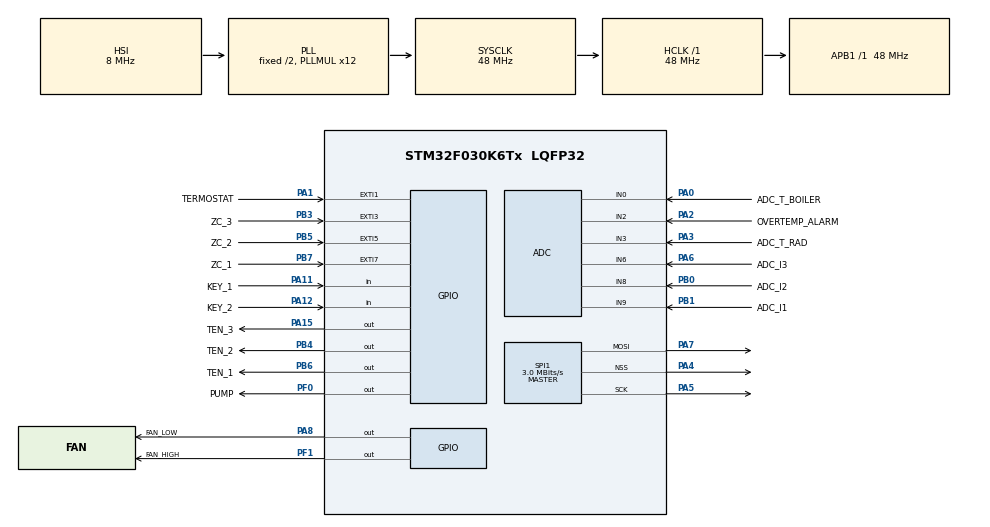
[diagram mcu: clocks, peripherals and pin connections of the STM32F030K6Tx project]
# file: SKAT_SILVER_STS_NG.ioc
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ADC.ContinuousConvMode=DISABLE
ADC.DMAContinuousRequests=ENABLE
ADC.ExternalTrigConv=ADC_SOFTWARE_START
ADC.SamplingTime=ADC_SAMPLETIME_55CYCLES_5
Dma.ADC.0.Direction=DMA_PERIPH_TO_MEMORY
Dma.ADC.0.Instance=DMA1_Channel1
Dma.ADC.0.MemDataAlignment=DMA_MDATAALIGN_HALFWORD
Dma.ADC.0.MemInc=DMA_MINC_ENABLE
Dma.ADC.0.Mode=DMA_CIRCULAR
Dma.ADC.0.PeriphDataAlignment=DMA_PDATAALIGN_HALFWORD
Dma.ADC.0.PeriphInc=DMA_PINC_DISABLE
Dma.ADC.0.Priority=DMA_PRIORITY_LOW
Dma.Request0=ADC
IWDG.Prescaler=IWDG_PRESCALER_64
IWDG.Reload=1250
IWDG.Window=1250
Mcu.Family=STM32F0
Mcu.Name=STM32F030K6Tx
Mcu.Package=LQFP32
NVIC.DMA1_Channel1_IRQn=true\:0\:0\:false\:false\:true\:false\:true\:true
NVIC.EXTI0_1_IRQn=true\:1\:0\:true\:false\:true\:true\:true\:true
PA0.GPIO_Label=ADC_T_BOILER
PA0.Mode=IN0
PA0.Signal=ADC_IN0
PA1.GPIO_Label=TERMOSTAT
PA1.GPIO_ModeDefaultEXTI=GPIO_MODE_IT_RISING_FALLING
PA1.GPIO_PuPd=GPIO_PULLDOWN
PA1.Signal=GPXTI1
PA11.GPIO_Label=KEY_1
PA11.Signal=GPIO_Input
PA12.GPIO_Label=KEY_2
PA12.Signal=GPIO_Input
PA13.Mode=Serial_Wire
PA13.Signal=SYS_SWDIO
PA14.Mode=Serial_Wire
PA14.Signal=SYS_SWCLK
PA15.GPIO_Label=TEN_3
PA15.Signal=GPIO_Output
PA2.GPIO_Label=OVERTEMP_ALARM
PA2.Signal=SharedAnalog_PA2
PA3.GPIO_Label=ADC_T_RAD
PA3.Mode=IN3
PA3.Signal=ADC_IN3
PA4.Mode=NSS_Signal_Hard_Output
PA4.Signal=SPI1_NSS
PA5.Mode=TX_Only_Simplex_Unidirect_Master
PA5.Signal=SPI1_SCK
PA6.GPIO_Label=ADC_I3
PA6.Mode=IN6
PA6.Signal=ADC_IN6
PA7.Mode=TX_Only_Simplex_Unidirect_Master
PA7.Signal=SPI1_MOSI
PA8.GPIO_Label=FAN_LOW
PA8.Signal=GPIO_Output
PB0.GPIO_Label=ADC_I2
PB0.Mode=IN8
PB0.Signal=ADC_IN8
PB1.GPIO_Label=ADC_I1
PB1.Mode=IN9
PB1.Signal=ADC_IN9
PB3.GPIO_Label=ZC_3
PB3.GPIO_ModeDefaultEXTI=GPIO_MODE_IT_RISING_FALLING
PB3.GPIO_PuPd=GPIO_PULLUP
PB3.Signal=GPXTI3
PB4.GPIO_Label=TEN_2
PB4.Signal=GPIO_Output
PB5.GPIO_Label=ZC_2
PB5.GPIO_ModeDefaultEXTI=GPIO_MODE_IT_RISING_FALLING
PB5.GPIO_PuPd=GPIO_PULLUP
PB5.Signal=GPXTI5
PB6.GPIO_Label=TEN_1
PB6.Signal=GPIO_Output
PB7.GPIO_Label=ZC_1
PB7.GPIO_ModeDefaultEXTI=GPIO_MODE_IT_RISING_FALLING
PB7.GPIO_PuPd=GPIO_PULLUP
PB7.Signal=GPXTI7
PF0-OSC_IN.GPIO_Label=PUMP
PF0-OSC_IN.Signal=GPIO_Output
PF1-OSC_OUT.GPIO_Label=FAN_HIGH
PF1-OSC_OUT.Signal=GPIO_Output
ProjectManager.HeapSize=0x200
ProjectManager.StackSize=0x400
ProjectManager.TargetToolchain=STM32CubeIDE
RCC.AHBFreq_Value=48000000
RCC.APB1Freq_Value=48000000
RCC.APB1TimFreq_Value=48000000
RCC.HCLKFreq_Value=48000000
RCC.PLLMUL=RCC_PLL_MUL12
RCC.SYSCLKFreq_VALUE=48000000
RCC.SYSCLKSource=RCC_SYSCLKSOURCE_PLLCLK
SH.SharedAnalog_PA2.0=GPIO_Analog
SH.SharedAnalog_PA2.1=ADC_IN2,IN2
SPI1.BaudRatePrescaler=SPI_BAUDRATEPRESCALER_16
SPI1.CLKPolarity=SPI_POLARITY_LOW
SPI1.CalculateBaudRate=3.0 MBits/s
SPI1.DataSize=SPI_DATASIZE_16BIT
SPI1.Direction=SPI_DIRECTION_2LINES
SPI1.FirstBit=SPI_FIRSTBIT_LSB
SPI1.Mode=SPI_MODE_MASTER
SPI1.VirtualNSS=VM_NSSHARD
SPI1.VirtualType=VM_MASTER
VP_ADC_Vref_Input.Mode=IN-Vrefint
VP_IWDG_VS_IWDG.Mode=IWDG_Activate
board=custom

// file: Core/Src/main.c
/* USER CODE BEGIN Header */
/**
  ******************************************************************************
  * @file           : main.c
  * @brief          : Main program body
  ******************************************************************************
  * @attention
  *
  * <h2><center>&copy; Copyright (c) 2022 STMicroelectronics.
  * All rights reserved.</center></h2>
  *
  * This software component is licensed by ST under BSD 3-Clause license,
  * the "License"; You may not use this file except in compliance with the
  * License. You may obtain a copy of the License at:
  *                        opensource.org/licenses/BSD-3-Clause
  *
  ******************************************************************************
  */
/* USER CODE END Header */
#include "main.h"
#include "adc.h"
#include "dma.h"
#include "iwdg.h"
#include "spi.h"
#include "gpio.h"

/* USER CODE BEGIN PV */
struct sBoiler boiler = {0};
uint32_t tickstart_1sec, tickstart_adc;
uint16_t delay_counter_1ms;
uint16_t delay_counter_500ms;
uint8_t ten1_output, ten2_output, ten3_output;

struct sSensor* list_of_sensors[2] = {&(boiler.heater.output.sensor), &(boiler.heatsink.sensor)};
uint8_t sensors_list_size = sizeof(list_of_sensors) / sizeof(list_of_sensors[0]);

/* USER CODE END PV */

void SystemClock_Config(void);

int main(void)
{

  /* MCU Configuration--------------------------------------------------------*/

  /* Reset of all peripherals, Initializes the Flash interface and the Systick. */
  HAL_Init();

  /* Configure the system clock */
  SystemClock_Config();

  /* Initialize all configured peripherals */
  MX_GPIO_Init();
  MX_DMA_Init();
  MX_SPI1_Init();
  MX_ADC_Init();
  MX_IWDG_Init();
  /* USER CODE BEGIN 2 */
  boiler_init();
  /* USER CODE END 2 */

  /* Infinite loop */
  /* USER CODE BEGIN WHILE */
  while (1)
  {
	  adc_update();
	  key_state_update();
	  user_interface_update();
	  heating_update();
	  upn_update();
	  one_second_event_handler();
	  display_update();
  }
    /* USER CODE END WHILE */

}

void SystemClock_Config(void)
{
  RCC_OscInitTypeDef RCC_OscInitStruct = {0};
  RCC_ClkInitTypeDef RCC_ClkInitStruct = {0};

  /** Initializes the RCC Oscillators according to the specified parameters
  * in the RCC_OscInitTypeDef structure.
  */
  RCC_OscInitStruct.OscillatorType = RCC_OSCILLATORTYPE_HSI|RCC_OSCILLATORTYPE_HSI14
                              |RCC_OSCILLATORTYPE_LSI;
  RCC_OscInitStruct.HSIState = RCC_HSI_ON;
  RCC_OscInitStruct.HSI14State = RCC_HSI14_ON;
  RCC_OscInitStruct.HSICalibrationValue = RCC_HSICALIBRATION_DEFAULT;
  RCC_OscInitStruct.HSI14CalibrationValue = 16;
  RCC_OscInitStruct.LSIState = RCC_LSI_ON;
  RCC_OscInitStruct.PLL.PLLState = RCC_PLL_ON;
  RCC_OscInitStruct.PLL.PLLSource = RCC_PLLSOURCE_HSI;
  RCC_OscInitStruct.PLL.PLLMUL = RCC_PLL_MUL12;
  RCC_OscInitStruct.PLL.PREDIV = RCC_PREDIV_DIV1;
  if (HAL_RCC_OscConfig(&RCC_OscInitStruct) != HAL_OK)
  {
    Error_Handler();
  }

  /** Initializes the CPU, AHB and APB buses clocks
  */
  RCC_ClkInitStruct.ClockType = RCC_CLOCKTYPE_HCLK|RCC_CLOCKTYPE_SYSCLK
                              |RCC_CLOCKTYPE_PCLK1;
  RCC_ClkInitStruct.SYSCLKSource = RCC_SYSCLKSOURCE_PLLCLK;
  RCC_ClkInitStruct.AHBCLKDivider = RCC_SYSCLK_DIV1;
  RCC_ClkInitStruct.APB1CLKDivider = RCC_HCLK_DIV1;

  if (HAL_RCC_ClockConfig(&RCC_ClkInitStruct, FLASH_LATENCY_1) != HAL_OK)
  {
    Error_Handler();
  }
}

/* USER CODE BEGIN 4 */

void adc_update()
{
	if ((HAL_GetTick() - tickstart_adc) > 50)
	{
		HAL_ADC_Start_DMA(&hadc, (uint32_t*)(&boiler.adc.value), 7);
		tickstart_adc = HAL_GetTick();
	}
}

void ten_default_initialization()
{
	  boiler.ten3.upn.signal = &(boiler.upn.phase_C.Current_Instant);
	  boiler.ten3.zero_cross = &boiler.zero_cross.phase_3;
	  boiler.ten3.physical_output = &ten3_output;

	  boiler.ten2.upn.signal = &(boiler.upn.phase_B.Current_Instant);
	  boiler.ten2.zero_cross = &boiler.zero_cross.phase_2;
	  boiler.ten2.physical_output = &ten2_output;

	  boiler.ten1.upn.signal = &(boiler.upn.phase_A.Current_Instant);
	  boiler.ten1.zero_cross = &boiler.zero_cross.phase_1;
	  boiler.ten1.physical_output = &ten1_output;
}

void check_if_sensor_is_broken(struct sSensor* sensor_ptr)
{
	if((*sensor_ptr).tC_Instant == 250)
	{
		if((*sensor_ptr).counter_alarm < ALARM_COUNTER_MAX)	(*sensor_ptr).counter_alarm ++;
		else												(*sensor_ptr).Flag_Enable = 0;
	}
	else
	{
		if((*sensor_ptr).counter_alarm)	(*sensor_ptr).counter_alarm --;
		else							(*sensor_ptr).Flag_Enable = 1;
	}
}

void init_param_from_eeprom()
{
	uint32_t data = eeprom_read_setting(FLASH_PAGE_ADDR_31);
	boiler.parameters.boiler_type = (uint8_t)data;
	data = data >> 8;
	boiler.heater.parameters.aim_temp = (uint8_t)data;

	if((boiler.heater.parameters.aim_temp < SetTC_MIN) || (boiler.heater.parameters.aim_temp > SetTC_MAX))
	{
		boiler.heater.parameters.aim_temp = SetTC_DEFAULT;
		eeprom_write_setting(boiler.heater.parameters.aim_temp << 8 | boiler.parameters.boiler_type, FLASH_PAGE_ADDR_31);
	}

	if((boiler.parameters.boiler_type != 4) || (boiler.parameters.boiler_type != 8))
	{
		boiler.parameters.boiler_type = 8;
		eeprom_write_setting(boiler.heater.parameters.aim_temp << 8 | boiler.parameters.boiler_type, FLASH_PAGE_ADDR_31);
	}
}

void boiler_init()
{
	HAL_ADC_MspInit(&hadc);
	HAL_ADCEx_Calibration_Start(&hadc);
	HAL_ADC_Start_DMA(&hadc, (uint32_t*)(&boiler.adc.value), 7);
	LL_SPI_Enable(SPI1);

	ten_default_initialization();
	init_param_from_eeprom();

	boiler.parameters.user_interface_step = 0;
	boiler.display.counter = 0;

	boiler.heater.output.sensor.tC_Average = 25;
	boiler.heatsink.sensor.tC_Average = 25;
	boiler.pump.pump_time_activity = ONE_MINUTE;

	boiler.adc.Vref_Const = (uint16_t)(*(__IO uint32_t*)(0x1FFFF7BA));

	boiler.heater.parameters.gisterezis = 5;
	boiler.heater.parameters.gisterezis_coefficient = 2;

	boiler.termostat.value = HAL_GPIO_ReadPin(TERMOSTAT_GPIO_Port, TERMOSTAT_Pin);
	tickstart_1sec = HAL_GetTick();
	tickstart_adc = HAL_GetTick();
}

/* USER CODE END 4 */

void Error_Handler(void)
{
  __disable_irq();
  while (1)
  {
  }
}
